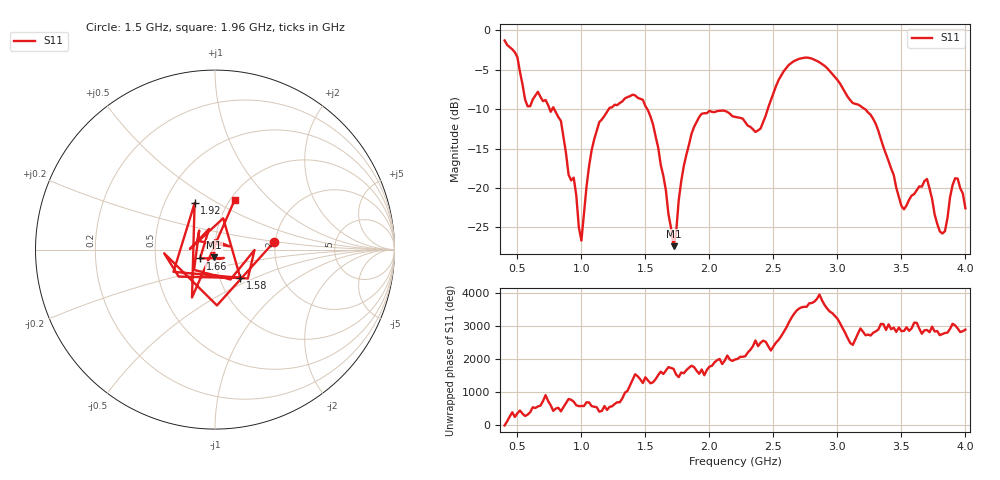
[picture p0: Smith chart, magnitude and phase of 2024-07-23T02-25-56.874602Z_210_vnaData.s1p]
!Created with skrf (http://scikit-rf.org).
# Hz S RI R 50.0
!freq ReS11 ImS11
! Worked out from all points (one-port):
!   181 points, 400 MHz to 4 GHz, reference 50 ohm
!   lowest |S11| = -27.4 dB at 1.72 GHz (marker M1), VSWR 1.09, Z = 49.3 - j4.18 ohm
!   |S11| at or under -10 dB: 787.9 MHz to 1.213 GHz (425.2 MHz wide, 42.5 % of centre); 1.515 GHz to 2.455 GHz (940.7 MHz wide, 47.4 % of centre); 3.217 GHz to end of sweep (the widest 3 of 4)
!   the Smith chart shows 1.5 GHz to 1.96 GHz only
!   S11 on the Smith chart (normalised r, x): 1.5 GHz: 1.97, +0.18; 1.58 GHz: 1.25, -0.42; 1.66 GHz: 0.84, -0.08; 1.92 GHz: 0.70, +0.40; 1.96 GHz: 1.05, +0.64
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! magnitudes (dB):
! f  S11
! 400 MHz  -1.3
! 500 MHz  -3.4
! 580 MHz  -9.6
! 660 MHz  -7.8
! 860 MHz  -13.6
! 900 MHz  -18.3
! 940 MHz  -18.7
! 1 GHz  -26.7
! 1.1 GHz  -13.8
! 1.3 GHz  -9.2
! 1.5 GHz  -9.6
! 1.58 GHz  -13.5
! 1.66 GHz  -20.3
! 1.72 GHz  -27.4
! 1.76 GHz  -21.6
! 1.92 GHz  -11.0
! 1.96 GHz  -10.5
! 2.2 GHz  -11.0
! 2.4 GHz  -12.4
! 2.66 GHz  -3.9
! 3.1 GHz  -8.8
! 3.28 GHz  -11.2
! 3.5 GHz  -22.3
! 3.56 GHz  -21.5
! 3.7 GHz  -18.9
! 3.82 GHz  -25.8
! 3.92 GHz  -18.8
! 4 GHz  -22.6
